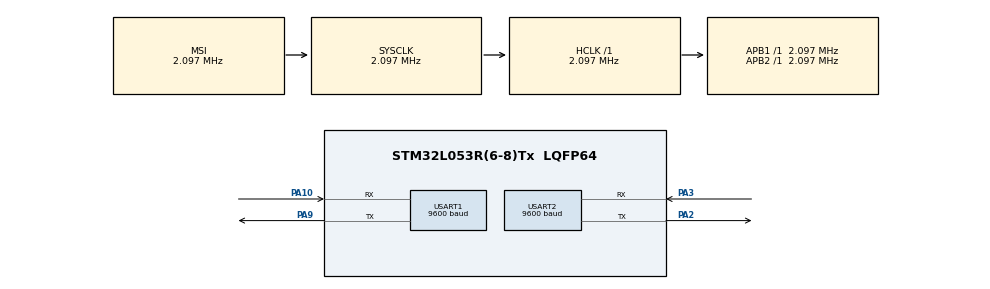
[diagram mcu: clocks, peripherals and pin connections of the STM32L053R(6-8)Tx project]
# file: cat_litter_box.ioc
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Mcu.Family=STM32L0
Mcu.Name=STM32L053R(6-8)Tx
Mcu.Package=LQFP64
PA10.Mode=Asynchronous
PA10.Signal=USART1_RX
PA13.Mode=Serial_Wire
PA13.Signal=SYS_SWDIO
PA14.Mode=Serial_Wire
PA14.Signal=SYS_SWCLK
PA2.Mode=Asynchronous
PA2.Signal=USART2_TX
PA3.Mode=Asynchronous
PA3.Signal=USART2_RX
PA9.Mode=Asynchronous
PA9.Signal=USART1_TX
ProjectManager.HeapSize=0x200
ProjectManager.StackSize=0x400
ProjectManager.TargetToolchain=STM32CubeIDE
RCC.AHBFreq_Value=2097000
RCC.APB1Freq_Value=2097000
RCC.APB1TimFreq_Value=2097000
RCC.APB2Freq_Value=2097000
RCC.APB2TimFreq_Value=2097000
RCC.HSE_VALUE=8000000
RCC.HSI16_VALUE=16000000
RCC.HSI48_VALUE=48000000
RCC.HSI_VALUE=16000000
RCC.LSE_VALUE=32768
RCC.MSI_VALUE=2097000
RCC.SYSCLKFreq_VALUE=2097000
RCC.VCOOutputFreq_Value=48000000
USART1.BaudRate=9600
USART1.VirtualMode-Asynchronous=VM_ASYNC
USART2.BaudRate=9600
USART2.VirtualMode-Asynchronous=VM_ASYNC
board=custom

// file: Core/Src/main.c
/* USER CODE BEGIN Header */
/**
  ******************************************************************************
  * @file           : main.c
  * @brief          : Main program body
  ******************************************************************************
  * @attention
  *
  * <h2><center>&copy; Copyright (c) 2021 STMicroelectronics.
  * All rights reserved.</center></h2>
  *
  * This software component is licensed by ST under BSD 3-Clause license,
  * the "License"; You may not use this file except in compliance with the
  * License. You may obtain a copy of the License at:
  *                        opensource.org/licenses/BSD-3-Clause
  *
  ******************************************************************************
  */
/* USER CODE END Header */
#include "main.h"

UART_HandleTypeDef huart1;
UART_HandleTypeDef huart2;
const int BUFFER_SIZE = 14; // RFID DATA FRAME FORMAT: 1byte head (value: 2), 10byte data (2byte version + 8byte tag), 2byte checksum, 1byte tail (value: 3)
const int DATA_SIZE = 10; // 10byte data (2byte version + 8byte tag)
const int DATA_VERSION_SIZE = 2; // 2byte version (actual meaning of these two bytes may vary)
const int DATA_TAG_SIZE = 8; // 8byte tag
const int CHECKSUM_SIZE = 2; // 2byte checksum

uint8_t buffer[BUFFER_SIZE]; // used to store an incoming data frame
int buffer_index = 0;

void SystemClock_Config(void);
static void MX_GPIO_Init(void);
static void MX_USART1_UART_Init(void);
static void MX_USART2_UART_Init(void);

int main(void)
{
  /* USER CODE BEGIN 1 */
  HAL_UART_Transmit(&huart2, "INIT DONE", BUFFER_SIZE, 100);
  /* USER CODE END 1 */

  /* MCU Configuration--------------------------------------------------------*/

  /* Reset of all peripherals, Initializes the Flash interface and the Systick. */
  HAL_Init();

  /* Configure the system clock */
  SystemClock_Config();

  /* Initialize all configured peripherals */
  MX_GPIO_Init();
  MX_USART1_UART_Init();
  MX_USART2_UART_Init();

  /* Infinite loop */
  /* USER CODE BEGIN WHILE */
  while (1)
  {
	HAL_UART_Receive(&huart2,(uint8_t *)ssvalue ,BUFFER_SIZE);//read
	bool call_extract_tag = false;
	if(ssvalue == -1)
	{// no data was read
		return;
	}

	if (ssvalue == 2)
	{ // RDM630/RDM6300 found a tag => tag incoming
	    buffer_index = 0;
	}

	else if (ssvalue == 3)
	{ // tag has been fully transmitted
	    call_extract_tag = true; // extract tag at the end of the function call
	}

	if (buffer_index >= BUFFER_SIZE)
	{ // checking for a buffer overflow (It's very unlikely that an buffer overflow comes up!)
		HAL_UART_Transmit(&huart2, "Error: Buffer overflow detected!", 33, 100);
	    return;
	}

	buffer[buffer_index++] = ssvalue; // everything is alright => copy current value to buffer

	if (call_extract_tag == true)
	{
	    if (buffer_index == BUFFER_SIZE)
	    {
	        unsigned tag = extract_tag();
	    }
	    else
	    { // something is wrong... start again looking for preamble (value: 2)
	        buffer_index = 0;
	        return;
	    }
	}
//    default
//	{
//    	HAL_UART_Transmit(&huart2,"No signal",9,100);
//	}
  }
    /* USER CODE END WHILE */

}

void SystemClock_Config(void)
{
  RCC_OscInitTypeDef RCC_OscInitStruct = {0};
  RCC_ClkInitTypeDef RCC_ClkInitStruct = {0};
  RCC_PeriphCLKInitTypeDef PeriphClkInit = {0};

  /** Configure the main internal regulator output voltage
  */
  __HAL_PWR_VOLTAGESCALING_CONFIG(PWR_REGULATOR_VOLTAGE_SCALE1);
  /** Initializes the RCC Oscillators according to the specified parameters
  * in the RCC_OscInitTypeDef structure.
  */
  RCC_OscInitStruct.OscillatorType = RCC_OSCILLATORTYPE_MSI;
  RCC_OscInitStruct.MSIState = RCC_MSI_ON;
  RCC_OscInitStruct.MSICalibrationValue = 0;
  RCC_OscInitStruct.MSIClockRange = RCC_MSIRANGE_5;
  RCC_OscInitStruct.PLL.PLLState = RCC_PLL_NONE;
  if (HAL_RCC_OscConfig(&RCC_OscInitStruct) != HAL_OK)
  {
    Error_Handler();
  }
  /** Initializes the CPU, AHB and APB buses clocks
  */
  RCC_ClkInitStruct.ClockType = RCC_CLOCKTYPE_HCLK|RCC_CLOCKTYPE_SYSCLK
                              |RCC_CLOCKTYPE_PCLK1|RCC_CLOCKTYPE_PCLK2;
  RCC_ClkInitStruct.SYSCLKSource = RCC_SYSCLKSOURCE_MSI;
  RCC_ClkInitStruct.AHBCLKDivider = RCC_SYSCLK_DIV1;
  RCC_ClkInitStruct.APB1CLKDivider = RCC_HCLK_DIV1;
  RCC_ClkInitStruct.APB2CLKDivider = RCC_HCLK_DIV1;

  if (HAL_RCC_ClockConfig(&RCC_ClkInitStruct, FLASH_LATENCY_0) != HAL_OK)
  {
    Error_Handler();
  }
  PeriphClkInit.PeriphClockSelection = RCC_PERIPHCLK_USART1|RCC_PERIPHCLK_USART2;
  PeriphClkInit.Usart1ClockSelection = RCC_USART1CLKSOURCE_PCLK2;
  PeriphClkInit.Usart2ClockSelection = RCC_USART2CLKSOURCE_PCLK1;
  if (HAL_RCCEx_PeriphCLKConfig(&PeriphClkInit) != HAL_OK)
  {
    Error_Handler();
  }
}

static void MX_USART1_UART_Init(void)
{

  huart1.Instance = USART1;
  huart1.Init.BaudRate = 9600;
  huart1.Init.WordLength = UART_WORDLENGTH_8B;
  huart1.Init.StopBits = UART_STOPBITS_1;
  huart1.Init.Parity = UART_PARITY_NONE;
  huart1.Init.Mode = UART_MODE_TX_RX;
  huart1.Init.HwFlowCtl = UART_HWCONTROL_NONE;
  huart1.Init.OverSampling = UART_OVERSAMPLING_16;
  huart1.Init.OneBitSampling = UART_ONE_BIT_SAMPLE_DISABLE;
  huart1.AdvancedInit.AdvFeatureInit = UART_ADVFEATURE_NO_INIT;
  if (HAL_UART_Init(&huart1) != HAL_OK)
  {
    Error_Handler();
  }

}

static void MX_USART2_UART_Init(void)
{

  huart2.Instance = USART2;
  huart2.Init.BaudRate = 9600;
  huart2.Init.WordLength = UART_WORDLENGTH_8B;
  huart2.Init.StopBits = UART_STOPBITS_1;
  huart2.Init.Parity = UART_PARITY_NONE;
  huart2.Init.Mode = UART_MODE_TX_RX;
  huart2.Init.HwFlowCtl = UART_HWCONTROL_NONE;
  huart2.Init.OverSampling = UART_OVERSAMPLING_16;
  huart2.Init.OneBitSampling = UART_ONE_BIT_SAMPLE_DISABLE;
  huart2.AdvancedInit.AdvFeatureInit = UART_ADVFEATURE_NO_INIT;
  if (HAL_UART_Init(&huart2) != HAL_OK)
  {
    Error_Handler();
  }

}

static void MX_GPIO_Init(void)
{

  /* GPIO Ports Clock Enable */
  __HAL_RCC_GPIOA_CLK_ENABLE();

}

void Error_Handler(void)
{
  __disable_irq();
  while (1)
  {
  }
}

/************************ (C) COPYRIGHT STMicroelectronics *****END OF FILE****/
